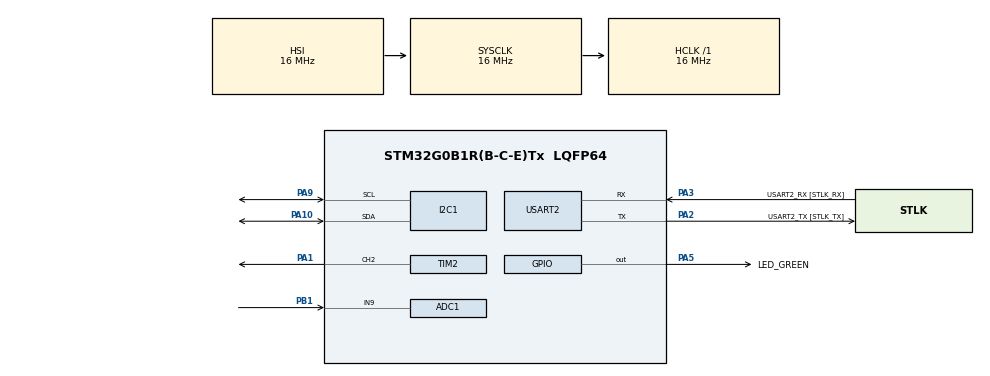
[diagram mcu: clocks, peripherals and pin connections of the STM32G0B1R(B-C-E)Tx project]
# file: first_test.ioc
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ADC1.Channel-0\#ChannelRegularConversion=ADC_CHANNEL_9
ADC1.ContinuousConvMode=ENABLE
ADC1.NbrOfConversionFlag=1
ADC1.Rank-0\#ChannelRegularConversion=1
ADC1.SamplingTime-0\#ChannelRegularConversion=ADC_SAMPLINGTIME_COMMON_1
ADC1.SelectedChannel=ADC_CHANNEL_9
ADC1.master=1
Mcu.Family=STM32G0
Mcu.Name=STM32G0B1R(B-C-E)Tx
Mcu.Package=LQFP64
PA1.Signal=S_TIM2_CH2
PA10.Mode=I2C
PA10.Signal=I2C1_SDA
PA13.GPIO_Label=TMS
PA13.Mode=Serial_Wire
PA13.Signal=SYS_SWDIO
PA14-BOOT0.GPIO_Label=TCK
PA14-BOOT0.Mode=Serial_Wire
PA14-BOOT0.Signal=SYS_SWCLK
PA2.GPIO_Label=USART2_TX [STLK_TX]
PA2.Mode=Asynchronous
PA2.Signal=USART2_TX
PA3.GPIO_Label=USART2_RX [STLK_RX]
PA3.Mode=Asynchronous
PA3.Signal=USART2_RX
PA5.GPIO_Label=LED_GREEN
PA5.GPIO_Speed=GPIO_SPEED_FREQ_HIGH
PA5.Signal=GPIO_Output
PA9.Mode=I2C
PA9.Signal=I2C1_SCL
PB1.Mode=IN9
PB1.Signal=ADC1_IN9
PC13.Mode=SYS_WakeUp1
PC13.Signal=SYS_WKUP2
PC14-OSC32_IN\ (PC14).Mode=LSE-External-Oscillator
PC14-OSC32_IN\ (PC14).Signal=RCC_OSC32_IN
PC15-OSC32_OUT\ (PC15).Mode=LSE-External-Oscillator
PC15-OSC32_OUT\ (PC15).Signal=RCC_OSC32_OUT
PF0-OSC_IN\ (PF0).GPIO_Label=MCO
PF0-OSC_IN\ (PF0).Mode=HSE-External-Clock-Source
PF0-OSC_IN\ (PF0).Signal=RCC_OSC_IN
ProjectManager.HeapSize=0x200
ProjectManager.StackSize=0x400
ProjectManager.TargetToolchain=STM32CubeIDE
RCC.AHBFreq_Value=16000000
RCC.CortexFreq_Value=16000000
RCC.EXTERNAL_CLOCK_VALUE=12288000
RCC.HCLKFreq_Value=16000000
RCC.HSE_VALUE=8000000
RCC.HSI48_VALUE=48000000
RCC.HSI_VALUE=16000000
RCC.SYSCLKFreq_VALUE=16000000
RCC.USBFreq_Value=48000000
RCC.VCOOutputFreq_Value=128000000
SH.S_TIM2_CH2.0=TIM2_CH2,PWM Generation2 CH2
TIM2.Channel-PWM\ Generation2\ CH2=TIM_CHANNEL_2
TIM2.Period=9999
TIM2.Prescaler=15
USART2.VirtualMode-Asynchronous=VM_ASYNC
VP_SYS_VS_DBSignals.Mode=DisableDeadBatterySignals
VP_TIM2_VS_ClockSourceINT.Mode=Internal
board=NUCLEO-G0B1RE

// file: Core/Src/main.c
/* USER CODE BEGIN Header */
/**
  ******************************************************************************
  * @file           : main.c
  * @brief          : Main program body
  ******************************************************************************
  * @attention
  *
  * Copyright (c) 2023 STMicroelectronics.
  * All rights reserved.
  *
  * This software is licensed under terms that can be found in the LICENSE file
  * in the root directory of this software component.
  * If no LICENSE file comes with this software, it is provided AS-IS.
  *
  ******************************************************************************
  */
/* USER CODE END Header */
#include "main.h"

/* USER CODE BEGIN Includes */
#include "liquidcrystal_i2c.h"
#include "stdio.h"
/* USER CODE END Includes */

ADC_HandleTypeDef hadc1;

I2C_HandleTypeDef hi2c1;

TIM_HandleTypeDef htim2;

UART_HandleTypeDef huart2;

void SystemClock_Config(void);
static void MX_GPIO_Init(void);
static void MX_USART2_UART_Init(void);
static void MX_ADC1_Init(void);
static void MX_TIM2_Init(void);
static void MX_I2C1_Init(void);

/* USER CODE BEGIN 0 */
//float readValue;
//float x;

/* USER CODE END 0 */

int main(void)
{

  /* MCU Configuration--------------------------------------------------------*/

  /* Reset of all peripherals, Initializes the Flash interface and the Systick. */
  HAL_Init();

  /* Configure the system clock */
  SystemClock_Config();

  /* Initialize all configured peripherals */
  MX_GPIO_Init();
  MX_USART2_UART_Init();
  MX_ADC1_Init();
  MX_TIM2_Init();
  MX_I2C1_Init();
  /* USER CODE BEGIN 2 */
//  HAL_ADC_Start(&hadc1);
//  HAL_TIM_PWM_Start(&htim2, TIM_CHANNEL_2);
  HD44780_Init(2);
    HD44780_Clear();
    HD44780_SetCursor(0,0);
    HD44780_PrintStr("HELLO");
    HD44780_SetCursor(10,1);
    HD44780_PrintStr("WORLD");
    HAL_Delay(2000);

    HD44780_Clear();
    HD44780_SetCursor(0,0);
    HD44780_PrintStr("HELLO");
    HAL_Delay(2000);
    HD44780_NoBacklight();
    HAL_Delay(2000);
    HD44780_Backlight();

    HAL_Delay(2000);
    HD44780_Cursor();
    HAL_Delay(2000);
    HD44780_Blink();
    HAL_Delay(5000);
    HD44780_NoBlink();
    HAL_Delay(2000);
    HD44780_NoCursor();
    HAL_Delay(2000);

    HD44780_NoDisplay();
    HAL_Delay(2000);
    HD44780_Display();

    HD44780_Clear();
    HD44780_SetCursor(0,0);
    HD44780_PrintStr("Learning STM32 with LCD is fun :-)");
//    int x;
    for(int x=0; x<40; x=x+1)
    {
      HD44780_ScrollDisplayLeft();  //HD44780_ScrollDisplayRight();
      HAL_Delay(500);
    }

    char snum[5];
    for ( int x = 1; x <= 200 ; x++ )
    {
      sprintf(snum,"%d", x);
      HD44780_Clear();
      HD44780_SetCursor(0,0);
      HD44780_PrintStr(snum);
      HAL_Delay (1000);
    }

  /* USER CODE END 2 */

  /* Infinite loop */
  /* USER CODE BEGIN WHILE */
  while (1)
  {
//      int x;
//      for(x=500; x<2250; x=x+1)
//      {
//        __HAL_TIM_SET_COMPARE(&htim2,TIM_CHANNEL_2, x);
//        HAL_Delay(0.1);

    /* USER CODE END WHILE */

  }
}

void SystemClock_Config(void)
{
  RCC_OscInitTypeDef RCC_OscInitStruct = {0};
  RCC_ClkInitTypeDef RCC_ClkInitStruct = {0};

  /** Configure the main internal regulator output voltage
  */
  HAL_PWREx_ControlVoltageScaling(PWR_REGULATOR_VOLTAGE_SCALE1);

  /** Initializes the RCC Oscillators according to the specified parameters
  * in the RCC_OscInitTypeDef structure.
  */
  RCC_OscInitStruct.OscillatorType = RCC_OSCILLATORTYPE_HSI;
  RCC_OscInitStruct.HSIState = RCC_HSI_ON;
  RCC_OscInitStruct.HSIDiv = RCC_HSI_DIV1;
  RCC_OscInitStruct.HSICalibrationValue = RCC_HSICALIBRATION_DEFAULT;
  RCC_OscInitStruct.PLL.PLLState = RCC_PLL_NONE;
  if (HAL_RCC_OscConfig(&RCC_OscInitStruct) != HAL_OK)
  {
    Error_Handler();
  }

  /** Initializes the CPU, AHB and APB buses clocks
  */
  RCC_ClkInitStruct.ClockType = RCC_CLOCKTYPE_HCLK|RCC_CLOCKTYPE_SYSCLK
                              |RCC_CLOCKTYPE_PCLK1;
  RCC_ClkInitStruct.SYSCLKSource = RCC_SYSCLKSOURCE_HSI;
  RCC_ClkInitStruct.AHBCLKDivider = RCC_SYSCLK_DIV1;
  RCC_ClkInitStruct.APB1CLKDivider = RCC_HCLK_DIV1;

  if (HAL_RCC_ClockConfig(&RCC_ClkInitStruct, FLASH_LATENCY_0) != HAL_OK)
  {
    Error_Handler();
  }
}

static void MX_ADC1_Init(void)
{

  ADC_ChannelConfTypeDef sConfig = {0};

  /** Configure the global features of the ADC (Clock, Resolution, Data Alignment and number of conversion)
  */
  hadc1.Instance = ADC1;
  hadc1.Init.ClockPrescaler = ADC_CLOCK_SYNC_PCLK_DIV2;
  hadc1.Init.Resolution = ADC_RESOLUTION_12B;
  hadc1.Init.DataAlign = ADC_DATAALIGN_RIGHT;
  hadc1.Init.ScanConvMode = ADC_SCAN_DISABLE;
  hadc1.Init.EOCSelection = ADC_EOC_SINGLE_CONV;
  hadc1.Init.LowPowerAutoWait = DISABLE;
  hadc1.Init.LowPowerAutoPowerOff = DISABLE;
  hadc1.Init.ContinuousConvMode = ENABLE;
  hadc1.Init.NbrOfConversion = 1;
  hadc1.Init.ExternalTrigConv = ADC_SOFTWARE_START;
  hadc1.Init.ExternalTrigConvEdge = ADC_EXTERNALTRIGCONVEDGE_NONE;
  hadc1.Init.DMAContinuousRequests = DISABLE;
  hadc1.Init.Overrun = ADC_OVR_DATA_PRESERVED;
  hadc1.Init.SamplingTimeCommon1 = ADC_SAMPLETIME_1CYCLE_5;
  hadc1.Init.SamplingTimeCommon2 = ADC_SAMPLETIME_1CYCLE_5;
  hadc1.Init.OversamplingMode = DISABLE;
  hadc1.Init.TriggerFrequencyMode = ADC_TRIGGER_FREQ_HIGH;
  if (HAL_ADC_Init(&hadc1) != HAL_OK)
  {
    Error_Handler();
  }

  /** Configure Regular Channel
  */
  sConfig.Channel = ADC_CHANNEL_9;
  sConfig.Rank = ADC_REGULAR_RANK_1;
  sConfig.SamplingTime = ADC_SAMPLINGTIME_COMMON_1;
  if (HAL_ADC_ConfigChannel(&hadc1, &sConfig) != HAL_OK)
  {
    Error_Handler();
  }

}

static void MX_I2C1_Init(void)
{

  hi2c1.Instance = I2C1;
  hi2c1.Init.Timing = 0x00303D5B;
  hi2c1.Init.OwnAddress1 = 0;
  hi2c1.Init.AddressingMode = I2C_ADDRESSINGMODE_7BIT;
  hi2c1.Init.DualAddressMode = I2C_DUALADDRESS_DISABLE;
  hi2c1.Init.OwnAddress2 = 0;
  hi2c1.Init.OwnAddress2Masks = I2C_OA2_NOMASK;
  hi2c1.Init.GeneralCallMode = I2C_GENERALCALL_DISABLE;
  hi2c1.Init.NoStretchMode = I2C_NOSTRETCH_DISABLE;
  if (HAL_I2C_Init(&hi2c1) != HAL_OK)
  {
    Error_Handler();
  }

  /** Configure Analogue filter
  */
  if (HAL_I2CEx_ConfigAnalogFilter(&hi2c1, I2C_ANALOGFILTER_ENABLE) != HAL_OK)
  {
    Error_Handler();
  }

  /** Configure Digital filter
  */
  if (HAL_I2CEx_ConfigDigitalFilter(&hi2c1, 0) != HAL_OK)
  {
    Error_Handler();
  }

}

static void MX_TIM2_Init(void)
{

  TIM_ClockConfigTypeDef sClockSourceConfig = {0};
  TIM_MasterConfigTypeDef sMasterConfig = {0};
  TIM_OC_InitTypeDef sConfigOC = {0};

  htim2.Instance = TIM2;
  htim2.Init.Prescaler = 15;
  htim2.Init.CounterMode = TIM_COUNTERMODE_UP;
  htim2.Init.Period = 9999;
  htim2.Init.ClockDivision = TIM_CLOCKDIVISION_DIV1;
  htim2.Init.AutoReloadPreload = TIM_AUTORELOAD_PRELOAD_DISABLE;
  if (HAL_TIM_Base_Init(&htim2) != HAL_OK)
  {
    Error_Handler();
  }
  sClockSourceConfig.ClockSource = TIM_CLOCKSOURCE_INTERNAL;
  if (HAL_TIM_ConfigClockSource(&htim2, &sClockSourceConfig) != HAL_OK)
  {
    Error_Handler();
  }
  if (HAL_TIM_PWM_Init(&htim2) != HAL_OK)
  {
    Error_Handler();
  }
  sMasterConfig.MasterOutputTrigger = TIM_TRGO_RESET;
  sMasterConfig.MasterSlaveMode = TIM_MASTERSLAVEMODE_DISABLE;
  if (HAL_TIMEx_MasterConfigSynchronization(&htim2, &sMasterConfig) != HAL_OK)
  {
    Error_Handler();
  }
  sConfigOC.OCMode = TIM_OCMODE_PWM1;
  sConfigOC.Pulse = 0;
  sConfigOC.OCPolarity = TIM_OCPOLARITY_HIGH;
  sConfigOC.OCFastMode = TIM_OCFAST_DISABLE;
  if (HAL_TIM_PWM_ConfigChannel(&htim2, &sConfigOC, TIM_CHANNEL_2) != HAL_OK)
  {
    Error_Handler();
  }
  HAL_TIM_MspPostInit(&htim2);

}

static void MX_USART2_UART_Init(void)
{

  huart2.Instance = USART2;
  huart2.Init.BaudRate = 115200;
  huart2.Init.WordLength = UART_WORDLENGTH_8B;
  huart2.Init.StopBits = UART_STOPBITS_1;
  huart2.Init.Parity = UART_PARITY_NONE;
  huart2.Init.Mode = UART_MODE_TX_RX;
  huart2.Init.HwFlowCtl = UART_HWCONTROL_NONE;
  huart2.Init.OverSampling = UART_OVERSAMPLING_16;
  huart2.Init.OneBitSampling = UART_ONE_BIT_SAMPLE_DISABLE;
  huart2.Init.ClockPrescaler = UART_PRESCALER_DIV1;
  huart2.AdvancedInit.AdvFeatureInit = UART_ADVFEATURE_NO_INIT;
  if (HAL_UART_Init(&huart2) != HAL_OK)
  {
    Error_Handler();
  }
  if (HAL_UARTEx_SetTxFifoThreshold(&huart2, UART_TXFIFO_THRESHOLD_1_8) != HAL_OK)
  {
    Error_Handler();
  }
  if (HAL_UARTEx_SetRxFifoThreshold(&huart2, UART_RXFIFO_THRESHOLD_1_8) != HAL_OK)
  {
    Error_Handler();
  }
  if (HAL_UARTEx_DisableFifoMode(&huart2) != HAL_OK)
  {
    Error_Handler();
  }

}

static void MX_GPIO_Init(void)
{
  GPIO_InitTypeDef GPIO_InitStruct = {0};

  /* GPIO Ports Clock Enable */
  __HAL_RCC_GPIOC_CLK_ENABLE();
  __HAL_RCC_GPIOF_CLK_ENABLE();
  __HAL_RCC_GPIOA_CLK_ENABLE();
  __HAL_RCC_GPIOB_CLK_ENABLE();

  /*Configure GPIO pin Output Level */
  HAL_GPIO_WritePin(LED_GREEN_GPIO_Port, LED_GREEN_Pin, GPIO_PIN_RESET);

  /*Configure GPIO pin : LED_GREEN_Pin */
  GPIO_InitStruct.Pin = LED_GREEN_Pin;
  GPIO_InitStruct.Mode = GPIO_MODE_OUTPUT_PP;
  GPIO_InitStruct.Pull = GPIO_NOPULL;
  GPIO_InitStruct.Speed = GPIO_SPEED_FREQ_HIGH;
  HAL_GPIO_Init(LED_GREEN_GPIO_Port, &GPIO_InitStruct);

}

void Error_Handler(void)
{
  __disable_irq();
  while (1)
  {
  }
}
